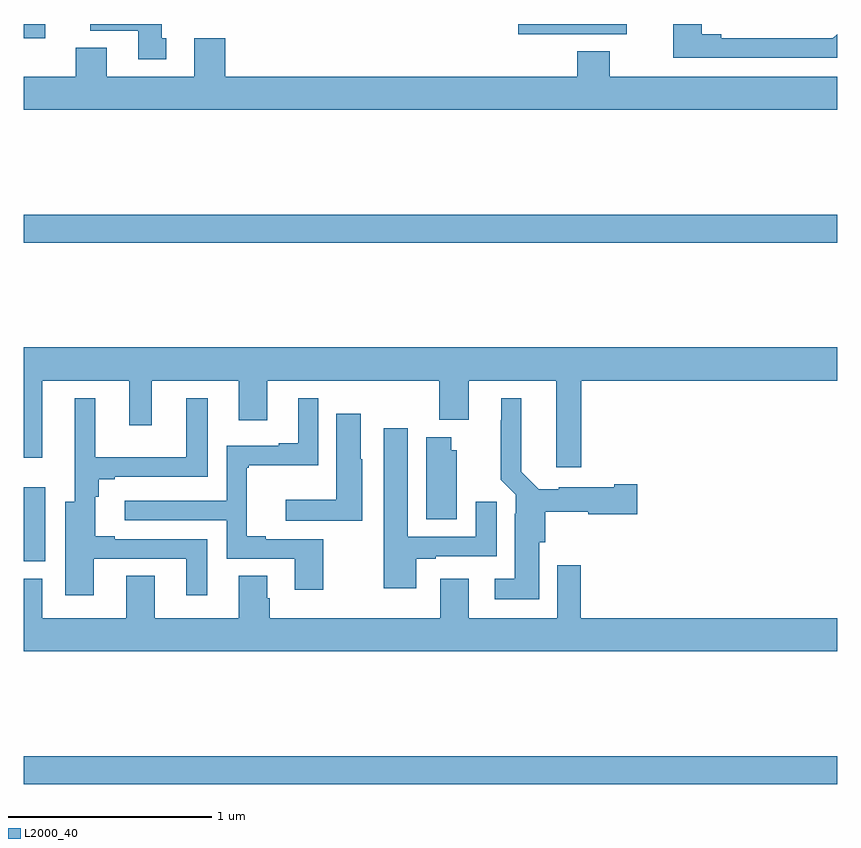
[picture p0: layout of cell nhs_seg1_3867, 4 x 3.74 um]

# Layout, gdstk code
import gdstk
lib = gdstk.Library(unit=1e-6, precision=1e-09)
def R(c, l, rs):  # rectangles x0, y0, x1, y1
    for r in rs: c.add(gdstk.rectangle(r[:2], r[2:], *l))
def P(c, l, *ps):  # polygons
    for p in ps: c.add(gdstk.Polygon(p, *l))
L2000_40 = (2000, 40)

nhs_seg1_3867 = lib.new_cell('nhs_seg1_3867')
R(nhs_seg1_3867, L2000_40, [(323,504.46,327,504.596), (323,505.556,323.104,505.921), (323,507.124,327,507.26), (323,508.128,323.104,508.199), (325.431,508.149,325.965,508.199)])
P(nhs_seg1_3867, L2000_40, [(327,508.149),(326.979,508.128),(326.431,508.128),(326.431,508.148),(326.335,508.148),(326.335,508.199),(326.195,508.199),(326.195,508.032),(327,508.032)],
  [(323.701,508.128),(323.677,508.128),(323.677,508.199),(323.326,508.199),(323.326,508.166),(323.561,508.166),(323.561,508.026),(323.701,508.026)],
  [(327,507.94),(325.881,507.94),(325.881,508.064),(325.721,508.064),(325.721,507.94),(323.99,507.94),(323.99,508.129),(323.837,508.129),(323.837,507.94),(323.407,507.94),(323.407,508.081),(323.255,508.081),(323.255,507.94),(323,507.94),(323,507.776),(327,507.776)],
  [(325.742,506.444),(327,506.444),(327,506.608),(323,506.608),(323,506.064),(323.089,506.064),(323.089,506.444),(323.519,506.444),(323.519,506.226),(323.629,506.226),(323.629,506.444),(324.056,506.444),(324.056,506.25),(324.196,506.25),(324.196,506.444),(325.042,506.444),(325.042,506.252),(325.189,506.252),(325.189,506.444),(325.619,506.444),(325.619,506.019),(325.742,506.019)],
  [(323.344,505.569),(323.798,505.569),(323.798,505.389),(323.902,505.389),(323.902,505.665),(323.446,505.665),(323.446,505.678),(323.35,505.678),(323.35,505.874),(323.368,505.874),(323.368,505.959),(323.446,505.959),(323.446,505.971),(323.905,505.971),(323.905,506.359),(323.798,506.359),(323.798,506.068),(323.35,506.068),(323.35,506.359),(323.249,506.359),(323.249,505.849),(323.204,505.849),(323.204,505.389),(323.344,505.389)],
  [(324.472,505.665),(324.19,505.665),(324.19,505.678),(324.095,505.678),(324.095,506.016),(324.106,506.016),(324.106,506.027),(324.447,506.027),(324.447,506.359),(324.35,506.359),(324.35,506.137),(324.254,506.137),(324.254,506.124),(323.997,506.124),(323.997,505.854),(323.496,505.854),(323.496,505.758),(323.997,505.758),(323.997,505.569),(324.332,505.569),(324.332,505.416),(324.472,505.416)],
  [(325.534,505.65),(325.565,505.65),(325.565,505.799),(325.776,505.799),(325.776,505.787),(326.017,505.787),(326.017,505.934),(325.904,505.934),(325.904,505.921),(325.632,505.921),(325.632,505.909),(325.533,505.909),(325.447,505.996),(325.447,506.359),(325.349,506.359),(325.349,506.249),(325.345,506.249),(325.345,505.958),(325.419,505.884),(325.419,505.79),(325.415,505.79),(325.415,505.471),(325.317,505.471),(325.317,505.37),(325.534,505.37)],
  [(324.664,506.058),(324.658,506.058),(324.658,506.281),(324.536,506.281),(324.536,505.858),(324.288,505.858),(324.288,505.754),(324.664,505.754)],
  [(324.931,505.569),(325.027,505.569),(325.027,505.581),(325.327,505.581),(325.327,505.849),(325.223,505.849),(325.223,505.677),(324.889,505.677),(324.889,506.209),(324.77,506.209),(324.77,505.422),(324.931,505.422)],
  [(325.129,506.103),(325.102,506.103),(325.102,506.167),(324.98,506.167),(324.98,505.762),(325.129,505.762)],
  [(327,505.276),(325.739,505.276),(325.739,505.537),(325.623,505.537),(325.623,505.276),(325.189,505.276),(325.189,505.471),(325.049,505.471),(325.049,505.276),(324.209,505.276),(324.209,505.374),(324.196,505.374),(324.196,505.484),(324.056,505.484),(324.056,505.276),(323.644,505.276),(323.644,505.484),(323.504,505.484),(323.504,505.276),(323.089,505.276),(323.089,505.471),(323,505.471),(323,505.112),(327,505.112)])

lib.write_gds('nhs_seg1_3867.gds')
